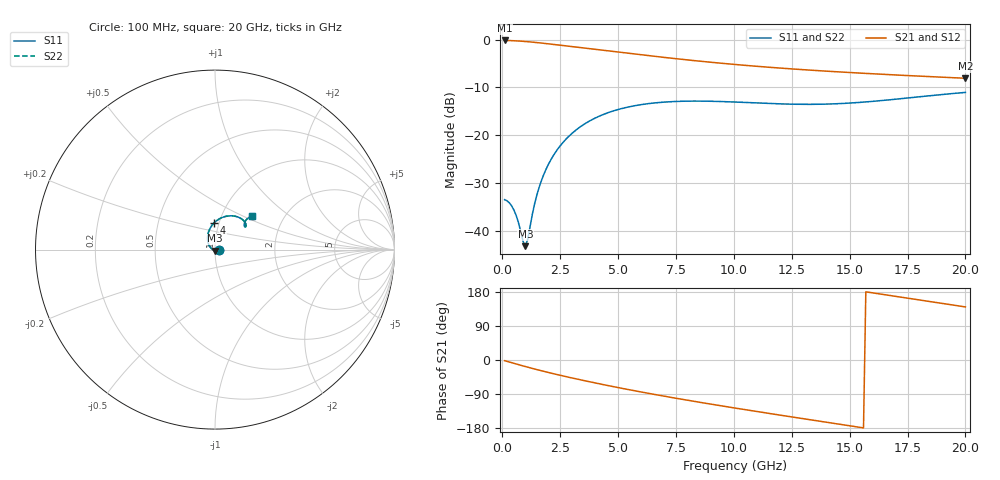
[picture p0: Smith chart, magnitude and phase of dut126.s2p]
! Created with skrf 1.9.0 (http://scikit-rf.org).
# GHz S RI R 50.0
!freq ReS11 ImS11 ReS21 ImS21 ReS12 ImS12 ReS22 ImS22
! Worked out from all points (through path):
!   200 points, 100 MHz to 20 GHz, reference 50 ohm
!   highest |S21| = -0.19 dB at 100 MHz (marker M1); lowest = -8.1 dB at 20 GHz (marker M2)
!   group delay of S21, straight-line fit = 29.1 ps
!   lowest |S11| = -43.3 dB at 1 GHz (marker M3), VSWR 1.01, Z = 49.7 - j0.627 ohm
!   |S11| at or under -10 dB: start of sweep to end of sweep
!   |S22| runs from -43.3 to -11.1 dB; largest |S21 - S12| = 2.1e-15
!   S11 on the Smith chart (normalised r, x): 100 MHz: 1.04, -0.00; 4 GHz: 0.95, +0.29; 20 GHz: 1.40, +0.56
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0.1  0.021 -0.00156  0.9779 -0.0306  0.9779 -0.0306  0.021 -0.00156
0.3  0.0189 -0.00498  0.9719 -0.0907  0.9719 -0.0907  0.0189 -0.00498
0.5  0.0147 -0.00748  0.9603 -0.1493  0.9603 -0.1493  0.0147 -0.00748
0.7  0.0086 -0.0085  0.9437 -0.2056  0.9437 -0.2056  0.0086 -0.0085
0.9  0.00122 -0.00757  0.9226 -0.2591  0.9226 -0.2591  0.00122 -0.00757
1  -0.00275 -0.0063  0.9106 -0.2847  0.9106 -0.2847  -0.00275 -0.0063
1.1  -0.00682 -0.00448  0.8978 -0.3094  0.8978 -0.3094  -0.00682 -0.00448
1.3  -0.0149 0.000816  0.8698 -0.3562  0.8698 -0.3562  -0.0149 0.000816
1.5  -0.0225 0.00817  0.8393 -0.3994  0.8393 -0.3994  -0.0225 0.00817
1.9  -0.0346 0.0279  0.7728 -0.4754  0.7728 -0.4754  -0.0346 0.0279
2.2  -0.0398 0.0459  0.7198 -0.5236  0.7198 -0.5236  -0.0398 0.0459
2.6  -0.0412 0.0716  0.6469 -0.5774  0.6469 -0.5774  -0.0412 0.0716
3.5  -0.0229 0.1263  0.4807 -0.6603  0.4807 -0.6603  -0.0229 0.1263
4  -0.00354 0.1502  0.3902 -0.6869  0.3902 -0.6869  -0.00354 0.1502
5.2  0.053 0.1833  0.187 -0.7052  0.187 -0.7052  0.053 0.1833
6.8  0.1198 0.1841  -0.0389 -0.6569  -0.0389 -0.6569  0.1198 0.1841
8.4  0.1588 0.1622  -0.2077 -0.5609  -0.2077 -0.5609  0.1588 0.1622
10.1  0.1728 0.1387  -0.3313 -0.4352  -0.3313 -0.4352  0.1728 0.1387
11.7  0.1711 0.1276  -0.4046 -0.3087  -0.4046 -0.3087  0.1711 0.1276
13.4  0.165 0.1297  -0.4439 -0.1734  -0.4439 -0.1734  0.165 0.1297
16.7  0.17 0.1603  -0.4236 0.0702  -0.4236 0.0702  0.17 0.1603
20  0.2088 0.1861  -0.3016 0.2526  -0.3016 0.2526  0.2088 0.1861
